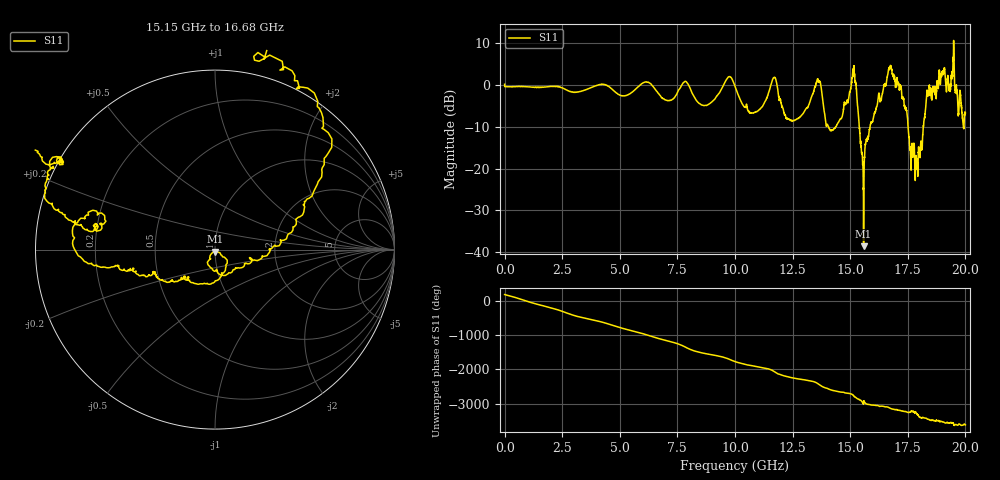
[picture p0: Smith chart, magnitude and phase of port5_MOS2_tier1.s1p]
! Created with skrf 1.8.0 (http://scikit-rf.org).
# GHz S RI R 50.0
!freq ReS11 ImS11
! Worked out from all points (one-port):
!   10001 points, 1 MHz to 20 GHz, reference 50 ohm
!   lowest |S11| = -38.6 dB at 15.58 GHz (marker M1), VSWR 1.02, Z = 50.2 - j1.17 ohm
!   |S11| at or under -10 dB: 14.06 GHz to 14.37 GHz (309.8 MHz wide, 2.18 % of centre); 15.4 GHz to 15.86 GHz (463.5 MHz wide, 2.97 % of centre); 17.51 GHz to 18.17 GHz (661.3 MHz wide, 3.71 % of centre) (the widest 3 of 4)
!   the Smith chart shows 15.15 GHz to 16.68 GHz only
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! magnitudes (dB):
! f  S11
! 1 MHz  0.2
! 2.501 GHz  -0.7
! 5.001 GHz  -2.4
! 7.501 GHz  -1.8
! 7.875 GHz  0.8
! 8.717 GHz  -4.9
! 9.717 GHz  2.0
! 10 GHz  -0.3
! 10.79 GHz  -6.7
! 11.71 GHz  1.8
! 12.5 GHz  -8.6
! 13.62 GHz  0.8
! 13.98 GHz  -9.7
! 14.23 GHz  -10.7
! 15 GHz  -1.3
! 15.2 GHz  1.5
! 15.5 GHz  -16.1
! 15.58 GHz  -38.6
! 16.71 GHz  4.2
! 17.13 GHz  -1.2
! 17.5 GHz  -8.8
! 17.64 GHz  -19.1
! 17.9 GHz  -19.4
! 18.39 GHz  -1.9
! 19.03 GHz  2.9
! 19.26 GHz  1.1
! 19.47 GHz  6.5
! 20 GHz  -6.7
